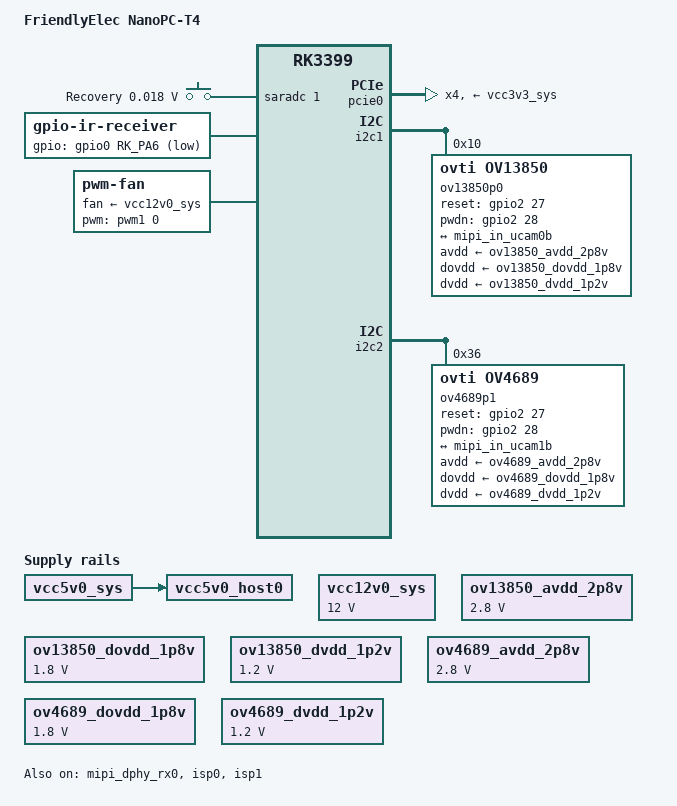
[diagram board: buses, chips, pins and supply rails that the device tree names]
// SPDX-License-Identifier: (GPL-2.0+ OR MIT)
/*
 * FriendlyElec NanoPC-T4 board device tree source
 *
 * Copyright (c) 2018 FriendlyElec Computer Tech. Co., Ltd.
 * (http://www.friendlyarm.com)
 *
 * Copyright (c) 2018 Collabora Ltd.
 */

/dts-v1/;
#include "rk3399-nanopi4.dtsi"

/ {
	model = "FriendlyElec NanoPC-T4";
	compatible = "friendlyarm,nanopc-t4", "rockchip,rk3399";

	vcc12v0_sys: vcc12v0-sys {
		compatible = "regulator-fixed";
		regulator-always-on;
		regulator-boot-on;
		regulator-max-microvolt = <12000000>;
		regulator-min-microvolt = <12000000>;
		regulator-name = "vcc12v0_sys";
	};

	vcc5v0_host0: vcc5v0-host0 {
		compatible = "regulator-fixed";
		regulator-always-on;
		regulator-boot-on;
		regulator-name = "vcc5v0_host0";
		vin-supply = <&vcc5v0_sys>;
	};

	ov13850_avdd_2p8v: 2p8v {
		compatible = "regulator-fixed";
		regulator-name = "ov13850_avdd";
		regulator-min-microvolt = <2800000>;
		regulator-max-microvolt = <2800000>;
		regulator-always-on;
	};

	ov13850_dovdd_1p8v: 1p8v {
		compatible = "regulator-fixed";
		regulator-name = "ov13850_dovdd";
		regulator-min-microvolt = <1800000>;
		regulator-max-microvolt = <1800000>;
		regulator-always-on;
	};

	ov13850_dvdd_1p2v: 1p2v {
		compatible = "regulator-fixed";
		regulator-name = "ov13850_dvdd";
		regulator-min-microvolt = <1200000>;
		regulator-max-microvolt = <1200000>;
		regulator-always-on;
	};

	ov4689_avdd_2p8v: 2p8v {
		compatible = "regulator-fixed";
		regulator-name = "ov4689_avdd";
		regulator-min-microvolt = <2800000>;
		regulator-max-microvolt = <2800000>;
		regulator-always-on;
	};

	ov4689_dovdd_1p8v: 1p8v {
		compatible = "regulator-fixed";
		regulator-name = "ov4689_dovdd";
		regulator-min-microvolt = <1800000>;
		regulator-max-microvolt = <1800000>;
		regulator-always-on;
	};

	ov4689_dvdd_1p2v: 1p2v {
		compatible = "regulator-fixed";
		regulator-name = "ov4689_dvdd";
		regulator-min-microvolt = <1200000>;
		regulator-max-microvolt = <1200000>;
		regulator-always-on;
	};

	adc-keys {
		compatible = "adc-keys";
		io-channels = <&saradc 1>;
		io-channel-names = "buttons";
		keyup-threshold-microvolt = <1800000>;
		poll-interval = <100>;

		recovery {
			label = "Recovery";
			linux,code = <KEY_VENDOR>;
			press-threshold-microvolt = <18000>;
		};
	};

	ir-receiver {
		compatible = "gpio-ir-receiver";
		gpios = <&gpio0 RK_PA6 GPIO_ACTIVE_LOW>;
		pinctrl-names = "default";
		pinctrl-0 = <&ir_rx>;
	};

	fan: pwm-fan {
		compatible = "pwm-fan";
		/*
		 * With 20KHz PWM and an EVERCOOL EC4007H12SA fan, these levels
		 * work out to 0, ~1200, ~3000, and 5000RPM respectively.
		 */
		cooling-levels = <0 12 18 255>;
		#cooling-cells = <2>;
		fan-supply = <&vcc12v0_sys>;
		pwms = <&pwm1 0 50000 0>;
	};
};

&cpu_thermal {
	trips {
		cpu_warm: cpu_warm {
			temperature = <55000>;
			hysteresis = <2000>;
			type = "active";
		};

		cpu_hot: cpu_hot {
			temperature = <65000>;
			hysteresis = <2000>;
			type = "active";
		};
	};

	cooling-maps {
		map2 {
			trip = <&cpu_warm>;
			cooling-device = <&fan THERMAL_NO_LIMIT 1>;
		};

		map3 {
			trip = <&cpu_hot>;
			cooling-device = <&fan 2 THERMAL_NO_LIMIT>;
		};
	};
};

&pcie0 {
	num-lanes = <4>;
	vpcie3v3-supply = <&vcc3v3_sys>;
};


&i2c1 {
	status = "okay";
	ov13850p0: ov13850@10 {
		compatible = "ovti,ov13850";
		status = "okay";
		reg = <0x10>;
		clocks = <&cru 0x89>;
		clock-names = "xvclk";
		avdd-supply = <&ov13850_avdd_2p8v>;
		dovdd-supply = <&ov13850_dovdd_1p8v>;
		dvdd-supply = <&ov13850_dvdd_1p2v>;

		reset-gpios = <&gpio2 27 0>;
		pwdn-gpios = <&gpio2 28 0>;
		pinctrl-names = "rockchip,camera_default", "rockchip,camera_sleep";
		pinctrl-0 = <&cam0_default_pins &cif_clkout_a>;
		pinctrl-1 = <&cam0_default_pins>;

		port {
			ucam_out0b: endpoint {
				remote-endpoint = <&mipi_in_ucam0b>;
				data-lanes = <1 2>;
			};
		};
	};
};

&i2c2 {
	status = "okay";
	ov4689p1: ov4689@36 {
		compatible = "ovti,ov4689";
		status = "okay";
		reg = <0x36>;
		clocks = <&cru 0x89>;
		clock-names = "xvclk";
		avdd-supply = <&ov4689_avdd_2p8v>;
		dovdd-supply = <&ov4689_dovdd_1p8v>;
		dvdd-supply = <&ov4689_dvdd_1p2v>;

		reset-gpios = <&gpio2 27 0>;
		pwdn-gpios = <&gpio2 28 0>;
		pinctrl-names = "rockchip,camera_default", "rockchip,camera_sleep";
		pinctrl-0 = <&cam1_default_pins &cif_clkout_b>;
		pinctrl-1 = <&cam1_default_pins>;

		port {
			ucam_out1b: endpoint {
				remote-endpoint = <&mipi_in_ucam1b>;
				data-lanes = <1 2>;
			};
		};
	};
};

&pinctrl {
	ir {
		ir_rx: ir-rx {
			/* external pullup to VCC3V3_SYS, despite being 1.8V :/ */
			rockchip,pins = <0 RK_PA6 1 &pcfg_pull_none>;
		};
	};

	cam_pins {
		cif_clkout_a: cif-clkout-a {
			rockchip,pins = <2 11 3 &pcfg_pull_none>;
		};

		cif_clkout_b: cif_clkout_b {
			rockchip,pins = <2 15 3 &pcfg_pull_none>;
		};

		cif_clkout_a_sleep: cif-clkout-a-sleep {
			rockchip,pins = <2 11 0 &pcfg_pull_none>;
		};

		cam0_default_pins: cam0-default-pins {
			rockchip,pins = <2 28 0 &pcfg_pull_down>, <2 27 0 &pcfg_pull_none>;
		};

		cam1_default_pins: cam1-default-pins {
			rockchip,pins = <0 12 0 &pcfg_pull_down>, <0  8 0 &pcfg_pull_none>;
		};
	};
};

&mipi_dphy_rx0 {
	status = "okay";
};

&isp0_mmu {
	status = "okay";
};

&isp0 {
	status = "okay";

	ports {
		port@0 {
			mipi_in_ucam0b: endpoint@0 {
				reg = <0>;
				remote-endpoint = <&ucam_out0b>;
				data-lanes = <1 2>;
			};
		};
	};
};

&isp1 {
	status = "okay";

	ports {
		port@0 {
			mipi_in_ucam1b: endpoint@0 {
				reg = <0>;
				remote-endpoint = <&ucam_out1b>;
				data-lanes = <1 2>;
			};
		};
	};
};

&sdhci {
	mmc-hs400-1_8v;
	mmc-hs400-enhanced-strobe;
};

&u2phy0_host {
	phy-supply = <&vcc5v0_host0>;
};

&u2phy1_host {
	phy-supply = <&vcc5v0_host0>;
};

&vcc5v0_sys {
	vin-supply = <&vcc12v0_sys>;
};

&vcc3v3_sys {
	vin-supply = <&vcc12v0_sys>;
};

&vbus_typec {
	enable-active-high;
	gpios = <&gpio4 RK_PD2 GPIO_ACTIVE_HIGH>;
	vin-supply = <&vcc5v0_sys>;
};
